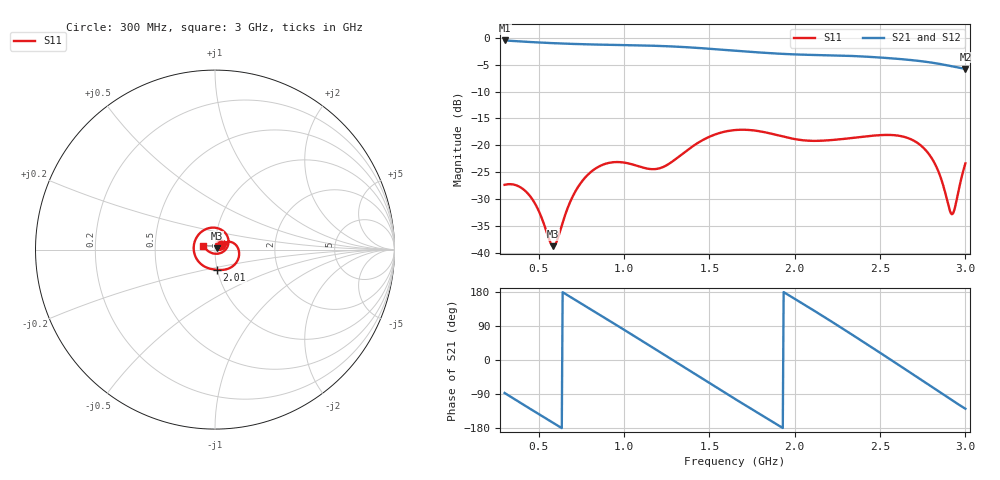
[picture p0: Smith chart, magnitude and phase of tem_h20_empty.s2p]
! tem_h20_empty
! simulated by sim/fixtures_fdtd.py (S12 = S21, S22 not computed)
# HZ S RI R 50
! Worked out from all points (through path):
!   541 points, 300 MHz to 3 GHz, reference 50 ohm
!   highest |S21| = -0.48 dB at 300 MHz (marker M1); lowest = -5.8 dB at 3 GHz (marker M2)
!   group delay of S21, straight-line fit = 780 ps
!   lowest |S11| = -38.8 dB at 585 MHz (marker M3), VSWR 1.02, Z = 50.9 + j0.672 ohm
!   |S11| at or under -10 dB: start of sweep to end of sweep
!   |S22| runs from - to - dB; largest |S21 - S12| = 0
!   S11 on the Smith chart (normalised r, x): 300 MHz: 1.07, +0.05; 2.01 GHz: 1.00, -0.23; 3 GHz: 0.88, +0.04
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3e8  0.0345 0.0253  0.0484 -0.9451  0.0484 -0.9451  0 0
4.45e8  0.0342 0.00129  -0.5577 -0.7267  -0.5577 -0.7267  0 0
5.85e8  0.00941 0.00659  -0.8666 -0.2154  -0.8666 -0.2154  0 0
7.5e8  0.0149 0.0429  -0.7469 0.4534  -0.7469 0.4534  0 0
8.65e8  0.041 0.0501  -0.3945 0.7693  -0.3945 0.7693  0 0
9.75e8  0.0584 0.038  0.0487 0.8565  0.0487 0.8565  0 0
1.08e9  0.0587 0.0257  0.4579 0.7182  0.4579 0.7182  0 0
1.2e9  0.0536 0.0282  0.7711 0.3384  0.7711 0.3384  0 0
1.385e9  0.083 0.0434  0.7153 -0.3913  0.7153 -0.3913  0 0
1.52e9  0.1224 0.018  0.3124 -0.723  0.3124 -0.723  0 0
1.65e9  0.1332 -0.0381  -0.1675 -0.7408  -0.1675 -0.7408  0 0
1.84e9  0.0786 -0.1044  -0.6548 -0.3068  -0.6548 -0.3068  0 0
2.01e9  0.012 -0.1128  -0.6528 0.2543  -0.6528 0.2543  0 0
2.1e9  -0.0221 -0.1077  -0.4816 0.4998  -0.4816 0.4998  0 0
2.21e9  -0.0703 -0.0867  -0.1555 0.6706  -0.1555 0.6706  0 0
2.31e9  -0.1087 -0.0394  0.183 0.6559  0.183 0.6559  0 0
2.44e9  -0.1103 0.0521  0.5337 0.3975  0.5337 0.3975  0 0
2.55e9  -0.053 0.1131  0.646 0.05  0.646 0.05  0 0
2.655e9  0.027 0.1148  0.5607 -0.2816  0.5607 -0.2816  0 0
2.78e9  0.0754 0.0398  0.2597 -0.5358  0.2597 -0.5358  0 0
2.92e9  -0.00171 -0.0227  -0.1487 -0.5237  -0.1487 -0.5237  0 0
3e9  -0.0642 0.0216  -0.321 -0.4013  -0.321 -0.4013  0 0
